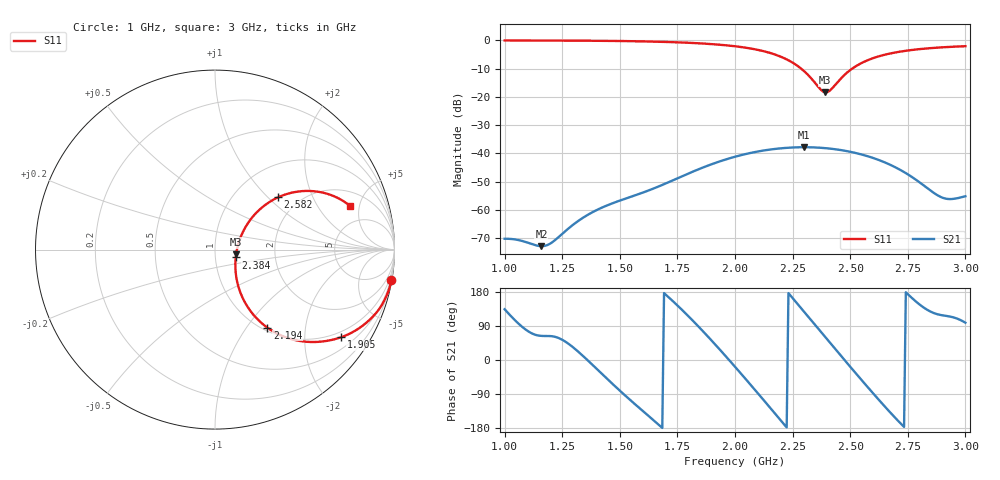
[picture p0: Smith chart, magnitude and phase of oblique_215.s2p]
! TOUCHSTONE file generated by CST MICROWAVE STUDIO
! Date and time: Tue Mar 18 00:03:09 2025
! Project name: oblique.cst
! Parameters = {Tilt=40; Fracture=1; B=12.5; D=160; F=25; Feed=2.85625; L=100; M=50; R=0.384908; S=2; Theta=180; length=57.125; wave=114.25}
! Header version: 2024
! Port assignment regex: !\s*Touchstone port\s*([0-9]+)\s*=\s*(CST MWS port|CST DES external port|CST DES block port)\s*(.+)\s* \(\"(.*)\"\)(\s*mode\s*([0-9]+))?.*
! Touchstone port assignment:
! Touchstone port 1 = CST MWS port 1 ("")
! Touchstone port 2 = CST MWS port 2 ("")
# GHz S DB R 50
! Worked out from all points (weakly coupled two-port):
!   264 points, 1 GHz to 3 GHz, reference 50 ohm
!   highest |S21| = -37.80 dB at 2.3 GHz (marker M1); lowest = -72.8 dB at 1.16 GHz (marker M2)
!   lowest |S11| = -18.4 dB at 2.392 GHz (marker M3), VSWR 1.27, Z = 63.3 - j3.25 ohm
!   |S11| at or under -10 dB: 2.287 GHz to 2.509 GHz (221.2 MHz wide, 9.22 % of centre)
!   S12 and S22 are empty: the file has one direction only
!   S11 on the Smith chart (normalised r, x): 1 GHz: 0, -12; 1.905 GHz: 0.82, -3.00; 2.194 GHz: 1.05, -1.26; 2.384 GHz: 1.26, -0.11; 2.582 GHz: 1.57, +1.15; 3 GHz: 3.09, +4.02
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1  -0.02 -9.8  -70.21 134.0  -200.00 0.0  -200.00 0.0
1.1597  -0.04 -12.1  -72.83 63.6  -200.00 0.0  -200.00 0.0
1.20532  -0.05 -12.9  -71.52 62.7  -200.00 0.0  -200.00 0.0
1.3346  -0.10 -15.3  -63.06 13.8  -200.00 0.0  -200.00 0.0
1.44106  -0.16 -17.7  -58.52 -47.4  -200.00 0.0  -200.00 0.0
1.6692  -0.48 -24.3  -51.67 -171.1  -200.00 0.0  -200.00 0.0
1.90494  -1.35 -34.7  -43.63 47.1  -200.00 0.0  -200.00 0.0
2.0038  -2.11 -40.8  -41.09 -20.4  -200.00 0.0  -200.00 0.0
2.11027  -3.55 -49.0  -39.16 -95.7  -200.00 0.0  -200.00 0.0
2.19392  -5.61 -56.1  -38.23 -155.9  -200.00 0.0  -200.00 0.0
2.30038  -10.91 -59.6  -37.80 126.8  -200.00 0.0  -200.00 0.0
2.3384  -14.14 -52.7  -37.86 99.1  -200.00 0.0  -200.00 0.0
2.38403  -18.16 -20.8  -38.08 66.0  -200.00 0.0  -200.00 0.0
2.39163  -18.38 -12.1  -38.13 60.5  -200.00 0.0  -200.00 0.0
2.41445  -17.56 12.6  -38.32 43.9  -200.00 0.0  -200.00 0.0
2.4981  -10.62 41.5  -39.39 -16.4  -200.00 0.0  -200.00 0.0
2.58175  -6.82 39.7  -41.14 -75.7  -200.00 0.0  -200.00 0.0
2.673  -4.64 33.8  -44.00 -138.0  -200.00 0.0  -200.00 0.0
2.75665  -3.50 28.6  -47.74 169.9  -200.00 0.0  -200.00 0.0
2.89354  -2.48 21.9  -55.43 118.6  -200.00 0.0  -200.00 0.0
2.93916  -2.27 20.1  -56.15 113.9  -200.00 0.0  -200.00 0.0
3  -2.05 18.0  -55.16 98.4  -200.00 0.0  -200.00 0.0
